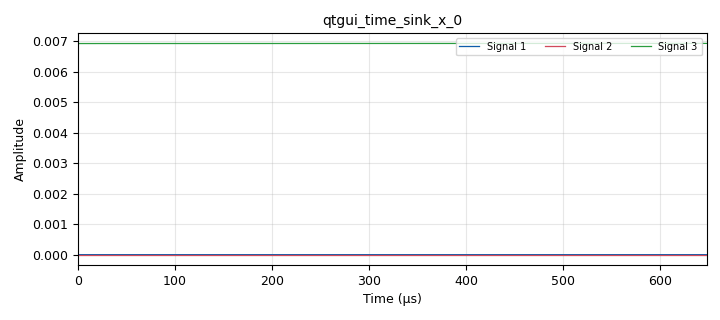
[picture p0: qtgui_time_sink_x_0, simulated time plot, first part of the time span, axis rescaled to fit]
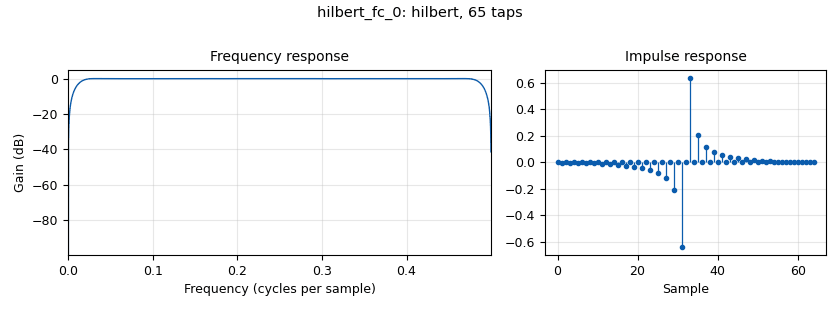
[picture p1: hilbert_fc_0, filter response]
options:
  parameters:
    generate_options: qt_gui
    id: phase_drift
    output_language: python
    title: phase_drift
  states: {}

blocks:
- name: f
  id: variable
  parameters:
    value: '5000'
  states: {}
- name: samp_rate
  id: variable
  parameters:
    value: '210000'
  states: {}
- name: analog_sig_source_x_0_1_0
  id: analog_sig_source_x
  parameters:
    amp: '1'
    comment: carrier
    freq: f
    offset: '0'
    phase: '0'
    samp_rate: samp_rate
    type: complex
    waveform: analog.GR_COS_WAVE
  states: {}
- name: analog_sig_source_x_0_1_0_0
  id: analog_sig_source_x
  parameters:
    amp: '1'
    comment: carrier (real)
    freq: f
    offset: '0'
    phase: '0'
    samp_rate: samp_rate
    type: float
    waveform: analog.GR_COS_WAVE
  states: {}
- name: analog_sig_source_x_0_1_0_1
  id: analog_sig_source_x
  parameters:
    amp: '1'
    comment: carrier x3
    freq: f*3
    offset: '0'
    phase: '0'
    samp_rate: samp_rate
    type: complex
    waveform: analog.GR_COS_WAVE
  states: {}
- name: analog_sig_source_x_0_1_0_1_0
  id: analog_sig_source_x
  parameters:
    amp: '1'
    comment: carrier x2
    freq: f*2
    offset: '0'
    phase: '0'
    samp_rate: samp_rate
    type: complex
    waveform: analog.GR_COS_WAVE
  states: {}
- name: band_pass_filter_0
  id: band_pass_filter
  parameters:
    decim: '1'
    gain: '1'
    high_cutoff_freq: 3*f
    low_cutoff_freq: 3*f
    samp_rate: samp_rate
    type: fir_filter_fff
    width: samp_rate/128
    win: window.WIN_HAMMING
  states: {}
- name: blocks_complex_to_arg_0_0_1_0
  id: blocks_complex_to_arg
  parameters: {}
  states: {}
- name: blocks_complex_to_arg_0_0_1_0_0
  id: blocks_complex_to_arg
  parameters: {}
  states: {}
- name: blocks_complex_to_arg_0_0_1_0_0_0
  id: blocks_complex_to_arg
  parameters: {}
  states: {}
- name: blocks_multiply_conjugate_cc_0
  id: blocks_multiply_conjugate_cc
  parameters: {}
  states: {}
- name: blocks_multiply_conjugate_cc_0_0_0
  id: blocks_multiply_conjugate_cc
  parameters:
    comment: RX @ 3carrier
  states: {}
- name: blocks_multiply_conjugate_cc_0_0_0_0
  id: blocks_multiply_conjugate_cc
  parameters:
    comment: RX @ 3carrier
  states: {}
- name: blocks_multiply_xx_0_0_0
  id: blocks_multiply_xx
  parameters:
    comment: 3xcarrier
    num_inputs: '3'
    type: complex
  states: {}
- name: blocks_multiply_xx_0_0_0_0
  id: blocks_multiply_xx
  parameters:
    comment: 2xcarrier
    type: complex
  states: {}
- name: blocks_multiply_xx_0_0_0_1
  id: blocks_multiply_xx
  parameters:
    comment: 3xcarrier
    num_inputs: '3'
    type: float
  states: {}
- name: blocks_throttle2_0
  id: blocks_throttle2
  parameters:
    samples_per_second: samp_rate
    type: complex
  states: {}
- name: hilbert_fc_0
  id: hilbert_fc
  parameters:
    num_taps: '65'
  states: {}
- name: qtgui_time_sink_x_0
  id: qtgui_time_sink_x
  parameters:
    nconnections: '3'
    size: '2560'
    srate: samp_rate
    type: float
    ymax: '.2'
    ymin: '-.05'
  states: {}

connections:
- [analog_sig_source_x_0_1_0, '0', blocks_multiply_xx_0_0_0, '0']
- [analog_sig_source_x_0_1_0, '0', blocks_multiply_xx_0_0_0, '1']
- [analog_sig_source_x_0_1_0, '0', blocks_multiply_xx_0_0_0, '2']
- [analog_sig_source_x_0_1_0, '0', blocks_multiply_xx_0_0_0_0, '0']
- [analog_sig_source_x_0_1_0, '0', blocks_multiply_xx_0_0_0_0, '1']
- [analog_sig_source_x_0_1_0_0, '0', blocks_multiply_xx_0_0_0_1, '0']
- [analog_sig_source_x_0_1_0_0, '0', blocks_multiply_xx_0_0_0_1, '1']
- [analog_sig_source_x_0_1_0_0, '0', blocks_multiply_xx_0_0_0_1, '2']
- [analog_sig_source_x_0_1_0_1, '0', blocks_throttle2_0, '0']
- [analog_sig_source_x_0_1_0_1_0, '0', blocks_multiply_conjugate_cc_0_0_0_0, '1']
- [band_pass_filter_0, '0', hilbert_fc_0, '0']
- [blocks_complex_to_arg_0_0_1_0, '0', qtgui_time_sink_x_0, '2']
- [blocks_complex_to_arg_0_0_1_0_0, '0', qtgui_time_sink_x_0, '0']
- [blocks_complex_to_arg_0_0_1_0_0_0, '0', qtgui_time_sink_x_0, '1']
- [blocks_multiply_conjugate_cc_0, '0', blocks_complex_to_arg_0_0_1_0_0_0, '0']
- [blocks_multiply_conjugate_cc_0_0_0, '0', blocks_complex_to_arg_0_0_1_0, '0']
- [blocks_multiply_conjugate_cc_0_0_0_0, '0', blocks_complex_to_arg_0_0_1_0_0, '0']
- [blocks_multiply_xx_0_0_0, '0', blocks_multiply_conjugate_cc_0, '0']
- [blocks_multiply_xx_0_0_0, '0', blocks_multiply_conjugate_cc_0_0_0, '0']
- [blocks_multiply_xx_0_0_0_0, '0', blocks_multiply_conjugate_cc_0_0_0_0, '0']
- [blocks_multiply_xx_0_0_0_1, '0', band_pass_filter_0, '0']
- [blocks_throttle2_0, '0', blocks_multiply_conjugate_cc_0_0_0, '1']
- [hilbert_fc_0, '0', blocks_multiply_conjugate_cc_0, '1']

metadata:
  file_format: 1
  grc_version: 3.10.9.2
